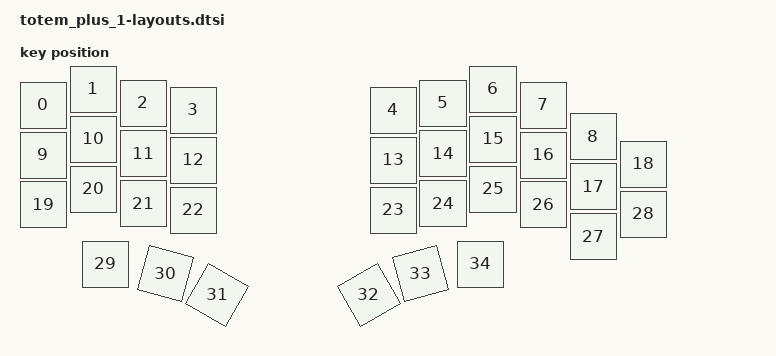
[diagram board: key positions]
#include <physical_layouts.dtsi>

/ {
    physical_layout_totem_plus_1: physical_layout_totem_plus_1 {
        compatible = "zmk,physical-layout";
        display-name = "Totem Plus 1";
        keys  //                     w   h    x    y     rot    rx    ry
            = <&key_physical_attrs 100 100(-100)   95       0(-100)    95>
            , <&key_physical_attrs 100 100    0   32       0     0    32>
            , <&key_physical_attrs 100 100  100    0       0   100     0>
            , <&key_physical_attrs 100 100  200   28       0   200    28>
            , <&key_physical_attrs 100 100  300   42       0   300    42>
            , <&key_physical_attrs 100 100  700   42       0   700    42>
            , <&key_physical_attrs 100 100  800   28       0   800    28>
            , <&key_physical_attrs 100 100  900    0       0   900     0>
            , <&key_physical_attrs 100 100 1000   32       0  1000    32>
            , <&key_physical_attrs 100 100 1100   95       0  1100    95>
            , <&key_physical_attrs 100 100(-200)  150       0(-200)   150>
            , <&key_physical_attrs 100 100(-100)  195       0(-100)   195>
            , <&key_physical_attrs 100 100    0  132       0     0   132>
            , <&key_physical_attrs 100 100  100  100       0   100   100>
            , <&key_physical_attrs 100 100  200  129       0   200   129>
            , <&key_physical_attrs 100 100  300  142       0   300   142>
            , <&key_physical_attrs 100 100  700  142       0   700   142>
            , <&key_physical_attrs 100 100  800  129       0   800   129>
            , <&key_physical_attrs 100 100  900  100       0   900   100>
            , <&key_physical_attrs 100 100 1000  132       0  1000   132>
            , <&key_physical_attrs 100 100 1100  195       0  1100   195>
            , <&key_physical_attrs 100 100 1200  150       0  1200   150>
            , <&key_physical_attrs 100 100(-200)  250       0(-200)   250>
            , <&key_physical_attrs 100 100(-100)  295       0(-100)   295>
            , <&key_physical_attrs 100 100    0  231       0     0   231>
            , <&key_physical_attrs 100 100  100  200       0   100   200>
            , <&key_physical_attrs 100 100  200  229       0   200   229>
            , <&key_physical_attrs 100 100  300  242       0   300   242>
            , <&key_physical_attrs 100 100  700  242       0   700   242>
            , <&key_physical_attrs 100 100  800  229       0   800   229>
            , <&key_physical_attrs 100 100  900  200       0   900   200>
            , <&key_physical_attrs 100 100 1000  231       0  1000   231>
            , <&key_physical_attrs 100 100 1100  295       0  1100   295>
            , <&key_physical_attrs 100 100 1200  250       0  1200   250>
            , <&key_physical_attrs 100 100  125  350       0   125   350>
            , <&key_physical_attrs 100 100  230  380    1500   330   480>
            , <&key_physical_attrs 100 100  330  380    3000   330   480>
            , <&key_physical_attrs 100 100  670  380 (-3000)   770   480>
            , <&key_physical_attrs 100 100  770  380 (-1500)   770   480>
            , <&key_physical_attrs 100 100  875  350       0   875   350>
            ;
    };
};
